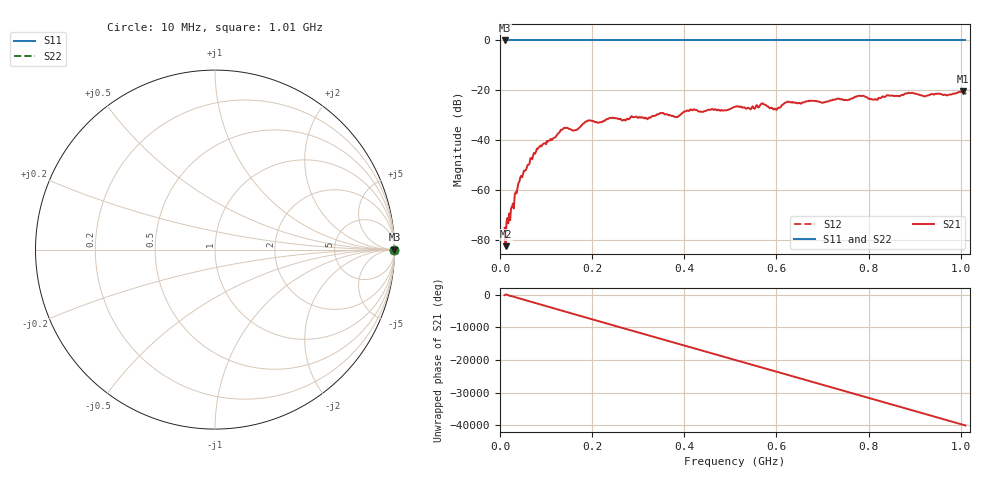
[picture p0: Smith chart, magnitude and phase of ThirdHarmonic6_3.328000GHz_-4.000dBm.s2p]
! 8/17/2025 10:26:42 AM
! C:\ANRITSUVNA\TEMP\TEMP.S2P
! CHANNEL.1
! TR.MEASUREMENT
! RAW.DATA
! RF.CORRECTION.OFF
! AVERAGING.OFF
! IF.BANDWIDTH: 5KHZ
! SWEEPTYPE:  FREQ.SWEEP(Linear)
! Reference Plane Port Info
! PORT:  PORT1  PORT2
! DISTANCE:  0  m  0  m
! TIME:  0  s  0  s
! PHASE.OFFSET:  0  deg.  0  deg.
! LOSS:  0  dB  0  dB
! REF.LOSS:  0  dB  0  dB
! REF.FREQ:  0  Hz  0  Hz
! Power Info
! POWER:  -20  dBm  -20  dBm
! EFF.POWER:  -20  dBm  -20  dBm
! SOURCE.ATTEN:  0  dB  0  dB
! TEST.ATTEN:  0  dB  0  dB
# GHZ S RI R 50.0
! FREQ.GHZ  S11RE  S11IM  S21RE  S21IM  S12RE  S12IM  S22RE  S22IM
!; PortSelection: Port_12
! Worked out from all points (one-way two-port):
!   501 points, 10 MHz to 1.01 GHz, reference 50 ohm
!   highest |S21| = -20.41 dB at 1.004 GHz (marker M1); lowest = -82.7 dB at 12 MHz (marker M2)
!   lowest |S11| = 0.0 dB at 10 MHz (marker M3)
!   |S11| at or under -10 dB: nowhere
!   |S22| runs from 0.0 to 0.0 dB; largest |S21 - S12| = 1.1
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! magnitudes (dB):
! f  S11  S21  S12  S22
! 10 MHz  0.0  -75.3  0.0  0.0
! 12 MHz  0.0  -82.7  0.0  0.0
! 26 MHz  0.0  -66.8  0.0  0.0
! 42 MHz  0.0  -56.8  0.0  0.0
! 84 MHz  0.0  -43.0  0.0  0.0
! 136 MHz  0.0  -35.7  0.0  0.0
! 162 MHz  0.0  -36.2  0.0  0.0
! 178 MHz  0.0  -33.9  0.0  0.0
! 194 MHz  0.0  -32.1  0.0  0.0
! 318 MHz  0.0  -31.3  0.0  0.0
! 344 MHz  0.0  -29.7  0.0  0.0
! 382 MHz  0.0  -30.8  0.0  0.0
! 416 MHz  0.0  -28.0  0.0  0.0
! 510 MHz  0.0  -26.7  0.0  0.0
! 570 MHz  0.0  -25.3  0.0  0.0
! 598 MHz  0.0  -27.5  0.0  0.0
! 622 MHz  0.0  -24.8  0.0  0.0
! 678 MHz  0.0  -24.2  0.0  0.0
! 814 MHz  0.0  -23.6  0.0  0.0
! 844 MHz  0.0  -22.1  0.0  0.0
! 1.004 GHz  0.0  -20.4  0.0  0.0
! 1.01 GHz  0.0  -21.3  0.0  0.0
